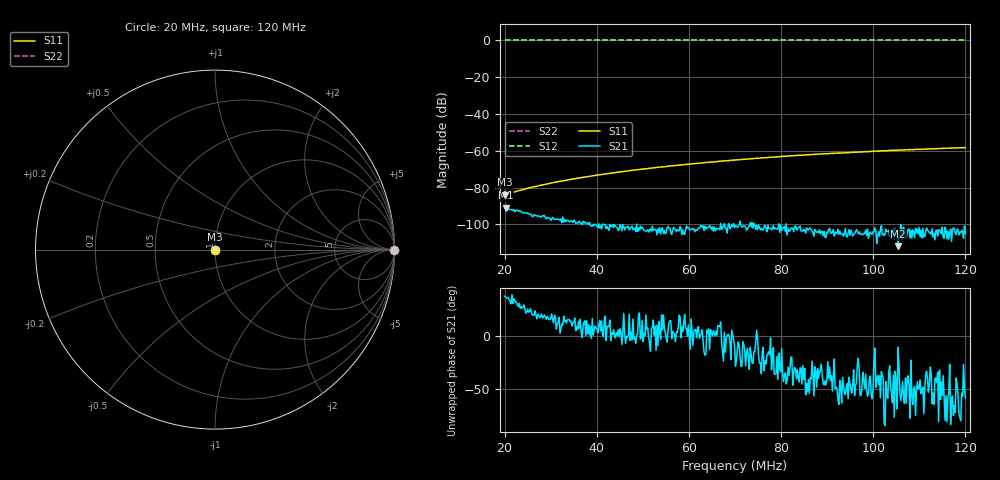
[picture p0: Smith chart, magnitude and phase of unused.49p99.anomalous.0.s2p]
! Anritsu VNA Master:  Model: MS2036C/10/77
! SN:  1601066
! /bd0/18may08.cable.cal/unused.49p99.anomalous.0.s2p
! Existing Calibration Information:
! TYPE:  Current Settings,  Active Cal Settings
! TIME:  05/08/2018 04:04:32 PM,  05/08/2018 03:57:21 PM
! INTERNAL TEMP:  50.3 C,  50.3 C
! # POINTS:  500,  500
! START FREQ:  20.000 MHz,  20.000 MHz
! STOP FREQ:  120.000 MHz,  120.000 MHz
! SOURCE POWER:  High,  High
! IFBW:  50 Hz,  50 Hz
! AVG FACTOR:  1 ,  1
! REF PLANE 1:  0 mm,  0 mm
! REF PLANE 2:  0 mm,  0 mm
! CAL TYPE:  Full S11,  Full S11
! CAL METHOD:  SOLT,  SOLT
! CAL LINE TYPE:  Coax,  Coax
! DUT PORT 1:  K-Conn(F),  K-Conn(F)
! DUT PORT 2:  K-Conn(F),  K-Conn(F)
! CAL STATUS:  OK: Accuracy High,  --
# GHZ S DB R 50.0
! FREQ.GHZ  S11DB  S11A  S21DB  S21A  S12DB  S12A  S22DB  S22A
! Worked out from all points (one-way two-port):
!   500 points, 20 MHz to 120 MHz, reference 50 ohm
!   highest |S21| = -90.91 dB at 20.2 MHz (marker M1); lowest = -111.9 dB at 105.4 MHz (marker M2)
!   lowest |S11| = -83.9 dB at 20 MHz (marker M3), VSWR 1.00, Z = 50 - j0.00366 ohm
!   |S11| at or under -10 dB: start of sweep to end of sweep
!   |S22| runs from 0.0 to 0.0 dB; largest |S21 - S12| = 1
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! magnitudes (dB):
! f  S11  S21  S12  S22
! 20 MHz  -83.9  -91.0  0.0  0.0
! 20.2 MHz  -83.8  -90.9  0.0  0.0
! 25.21 MHz  -80.3  -94.1  0.0  0.0
! 25.81 MHz  -79.9  -94.6  0.0  0.0
! 30.82 MHz  -77.2  -97.1  0.0  0.0
! 36.83 MHz  -74.5  -100.1  0.0  0.0
! 41.64 MHz  -72.6  -100.1  0.0  0.0
! 45.25 MHz  -71.4  -100.8  0.0  0.0
! 48.46 MHz  -70.4  -103.9  0.0  0.0
! 53.47 MHz  -68.9  -104.4  0.0  0.0
! 56.07 MHz  -68.2  -104.5  0.0  0.0
! 63.49 MHz  -66.3  -100.9  0.0  0.0
! 64.49 MHz  -66.2  -100.6  0.0  0.0
! 70.1 MHz  -65.0  -100.7  0.0  0.0
! 78.32 MHz  -63.5  -100.7  0.0  0.0
! 82.53 MHz  -62.7  -102.1  0.0  0.0
! 86.73 MHz  -62.0  -103.6  0.0  0.0
! 94.55 MHz  -60.9  -104.9  0.0  0.0
! 103.4 MHz  -59.9  -103.1  0.0  0.0
! 105.4 MHz  -59.6  -111.9  0.0  0.0
! 115.6 MHz  -58.6  -101.5  0.0  0.0
! 120 MHz  -58.3  -105.0  0.0  0.0
